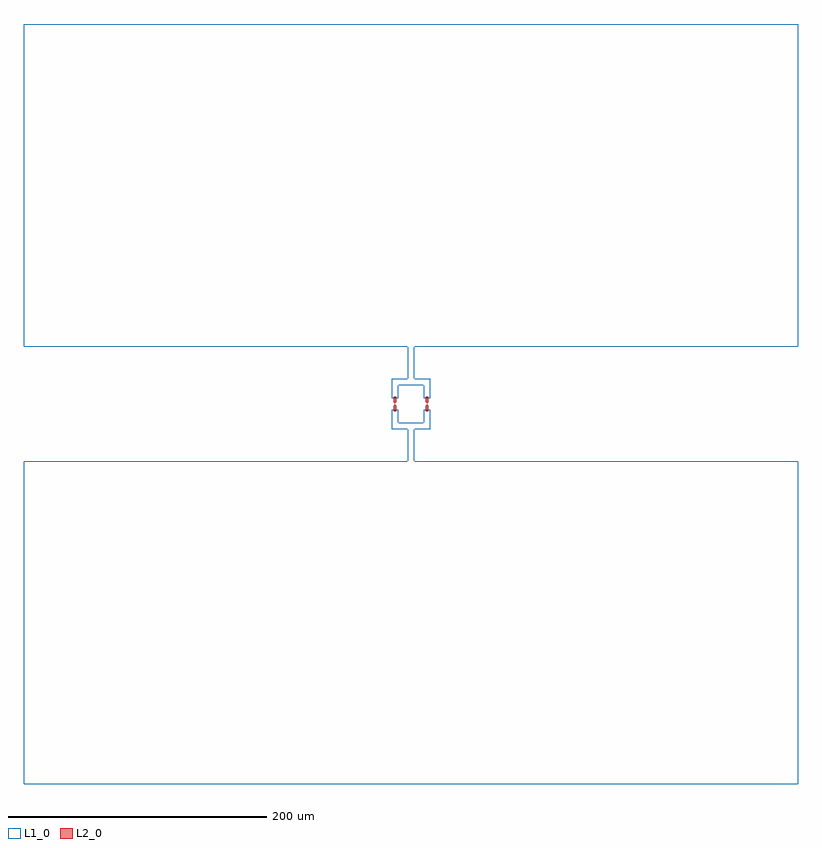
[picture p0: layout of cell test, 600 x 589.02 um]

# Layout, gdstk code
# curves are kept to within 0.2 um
import gdstk
lib = gdstk.Library(unit=1e-6, precision=1e-09)
def P(c, l, *ps):  # polygons
    for p in ps: c.add(gdstk.Polygon(p, *l))
L1_0 = (1, 0)
L2_0 = (2, 0)

pads = lib.new_cell('PADS')
P(pads, L1_0, [(-300,0.3),(-299.808,249.98),(-2.763,250.002),(-2.5,250.285),(-2.515,274.794),(-14.937,275.115),(-14.98,289.808),(-13.619,290),(-13.333,289.7),(-13.333,290.3),(-13.048,290),(-11.901,290.007),(-11.667,290.3),(-11.667,289.7),(-11.396,289.999),(-10.035,289.841),(-9.808,280.02),(9.715,280),(10,280.285),(10.015,289.794),(11.381,290),(11.667,289.7),(11.667,290.3),(11.952,290),(13.099,290.007),(13.333,290.3),(13.333,289.7),(13.619,290),(14.751,289.996),(14.999,289.729),(14.937,275.115),(2.785,275),(2.507,274.766),(2.5,250.285),(2.763,250.002),(299.98,249.808),(299.808,0.02),(-299.715,0)],
  [(-300,588.717),(-299.808,339.037),(-2.763,339.015),(-2.5,338.732),(-2.515,314.223),(-14.937,313.902),(-14.98,299.209),(-13.626,299.017),(-13.333,299.317),(-13.333,298.717),(-13.048,299.017),(-11.908,299.012),(-11.667,298.717),(-11.667,299.317),(-11.389,299.018),(-10.035,299.176),(-9.822,308.992),(9.715,309.017),(10,308.732),(10.015,299.223),(11.374,299.017),(11.667,299.317),(11.667,298.717),(11.952,299.017),(13.092,299.012),(13.333,298.717),(13.333,299.317),(13.626,299.017),(14.759,299.023),(14.999,299.288),(14.937,313.902),(2.793,314.017),(2.509,314.244),(2.5,338.732),(2.741,339.012),(299.98,339.209),(299.822,588.992),(-299.715,589.017)])

junctions_l = lib.new_cell('JUNCTIONS_L')
P(junctions_l, L2_0, [(-1,0),(1,0),(1,4),(0.1,5),(-0.1,5),(-1,4)],
  [(-1,11.017),(1,11.017),(1,7.017),(0.05,6.017),(0.05,5.12),(-0.05,5.12),(-0.05,6.017),(-1,7.017)])

junctions_r = lib.new_cell('JUNCTIONS_R')
P(junctions_r, L2_0, [(-1,0),(1,0),(1,4),(0.1,5),(-0.1,5),(-1,4)],
  [(-1,11.017),(1,11.017),(1,7.017),(0.05,6.017),(0.05,5.12),(-0.05,5.12),(-0.05,6.017),(-1,7.017)])

test = lib.new_cell('test')
test.add(gdstk.Reference(pads, (0,0)))
test.add(gdstk.Reference(junctions_l, (12.5,289)))
test.add(gdstk.Reference(junctions_r, (-12.5,289)))

lib.write_gds('test.gds')
